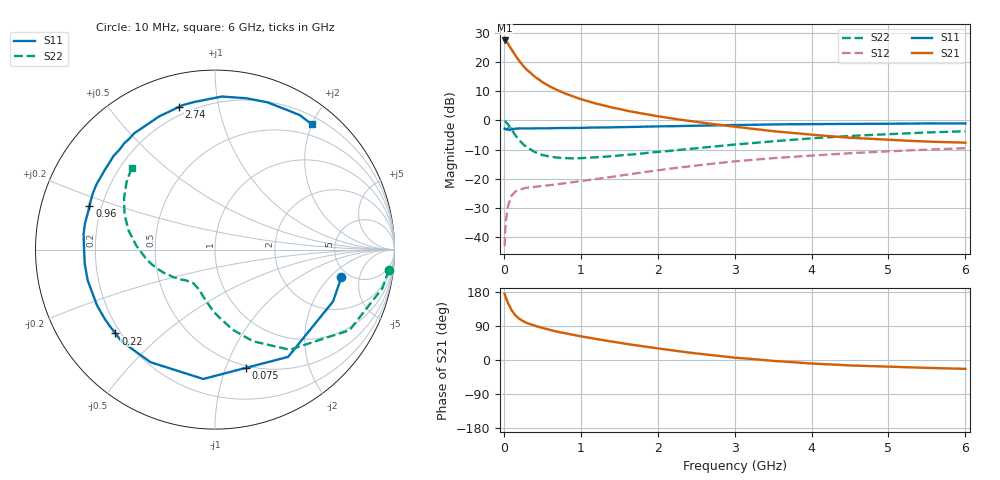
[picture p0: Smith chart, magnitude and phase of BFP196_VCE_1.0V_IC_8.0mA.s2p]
! Infineon Technologies  Discrete & RF Semiconductors
! BFP196
! VCE = 1.0 V,  IC = 8.0mA
! Common Emitter S-Parameters:  Jan 2016
# GHz  S  MA  R  50
!  f  S11  S21  S12  S22
! GHz  MAG  ANG  MAG  ANG  MAG  ANG  MAG  ANG
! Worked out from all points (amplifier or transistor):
!   210 points, 10 MHz to 6 GHz, reference 50 ohm
!   highest |S21| = 27.3 dB at 10 MHz (marker M1)
!   |S21| within 3 dB of that: start of sweep to 99.72 MHz
!   unconditionally stable (mu >= 1): 913.5 MHz to 5.453 GHz; 5.552 GHz to end of sweep
!   at 185 MHz: K = 0.27, MSG = 22.4 dB, |S12| = -24.0 dB
!   at 1.52 GHz: K = 1.18, MAG = 8.8 dB, |S12| = -18.9 dB
!   at 6 GHz: K = 1.01, MAG = 0.2 dB, |S12| = -9.5 dB
!   S11 on the Smith chart (normalised r, x): 10 MHz: 4.31, -2.77; 75 MHz: 0.48, -1.17; 220 MHz: 0.18, -0.35; 960 MHz: 0.15, +0.16; 2.74 GHz: 0.16, +0.77; 6 GHz: 0.32, +2.00
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0.01  0.7207 -12.4  23.3 174.7  0.007 84.8  0.9751 -6.7
0.02  0.7183 -23.7  22.7 167.6  0.0142 80.1  0.957 -13.0
0.05  0.7234 -55.7  20.86 151.3  0.0325 63.9  0.8739 -30.9
0.075  0.681 -75.5  18.38 142.4  0.0415 53.9  0.7703 -40.8
0.1  0.7238 -95.2  16.47 131.1  0.0514 47.6  0.6962 -53.3
0.15  0.7229 -119.8  12.87 117.5  0.0604 37.9  0.5528 -67.5
0.2  0.7298 -135.4  10.42 108.8  0.0647 32.6  0.4564 -77.6
0.22  0.7251 -139.9  9.657 106.5  0.0659 31.3  0.4286 -80.3
0.26  0.7254 -148.2  8.295 101.5  0.0682 29.1  0.3801 -86.2
0.3  0.727 -154.7  7.294 97.5  0.0702 28.0  0.3463 -91.2
0.4  0.7297 -166.3  5.611 90.3  0.0726 27.1  0.2872 -100.5
0.5  0.7301 -173.8  4.512 84.5  0.0748 26.9  0.2554 -107.3
0.7  0.7375 172.9  3.271 74.3  0.0805 29.1  0.2297 -116.9
0.96  0.7404 160.9  2.403 64.1  0.0897 32.6  0.224 -125.6
1.02  0.7443 158.3  2.263 61.8  0.0918 33.4  0.2256 -127.1
1.4  0.7581 144.1  1.661 48.8  0.1074 36.5  0.2435 -135.8
2.02  0.7889 124.2  1.163 30.1  0.1404 38.0  0.2881 -149.7
2.74  0.8202 104.1  0.857 12.0  0.1825 34.3  0.3565 -165.9
3.1  0.833 95.8  0.751 4.7  0.2033 30.8  0.3939 -174.1
4.1  0.8617 76.7  0.553 -10.2  0.2541 20.4  0.502 165.6
5.1  0.8755 62.7  0.457 -18.2  0.2988 9.1  0.5883 149.0
6  0.8826 52.3  0.414 -23.4  0.3332 -1.5  0.651 135.5
